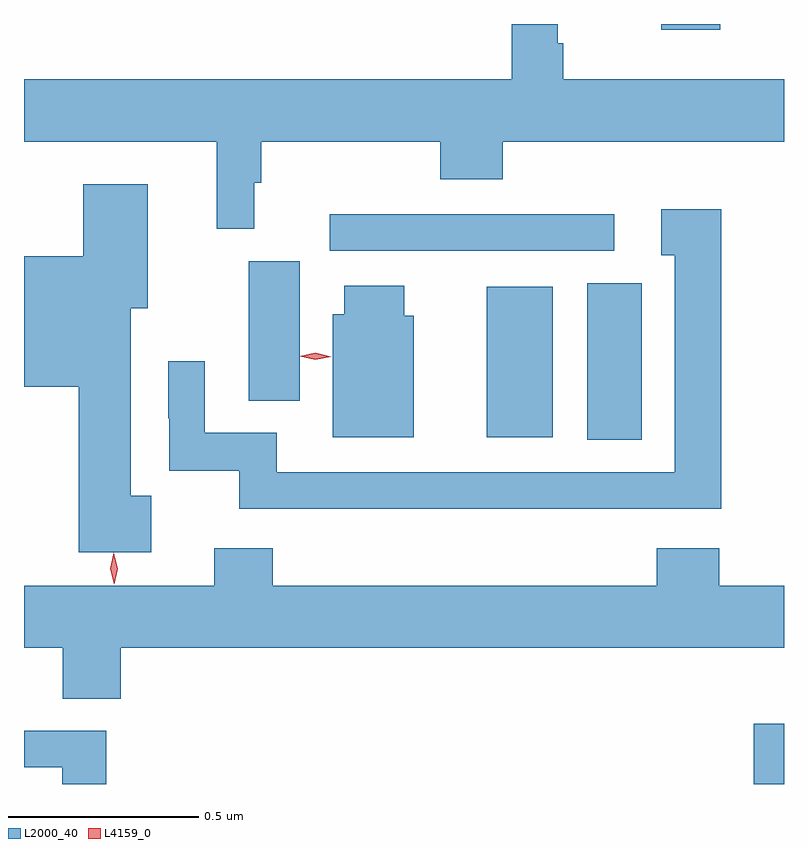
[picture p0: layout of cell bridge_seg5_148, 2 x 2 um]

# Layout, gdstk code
import gdstk
lib = gdstk.Library(unit=1e-6, precision=1e-09)
def R(c, l, rs):  # rectangles x0, y0, x1, y1
    for r in rs: c.add(gdstk.rectangle(r[:2], r[2:], *l))
def P(c, l, *ps):  # polygons
    for p in ps: c.add(gdstk.Polygon(p, *l))
L2000_40 = (2000, 40)
L4159_0 = (4159, 0)

bridge_seg5_148 = lib.new_cell('bridge_seg5_148')
R(bridge_seg5_148, L2000_40, [(352.496,845.746,352.576,845.905), (352.058,846.652,352.201,847.064), (351.794,846.659,351.967,847.054), (351.167,846.755,351.301,847.122), (351.381,847.149,352.129,847.245), (352.253,847.731,352.408,847.746)])
P(bridge_seg5_148, L2000_40, [(351.182,847.328),(351.2,847.328),(351.2,847.436),(351.671,847.436),(351.671,847.337),(351.836,847.337),(351.836,847.436),(352.576,847.436),(352.576,847.6),(351.995,847.6),(351.995,847.696),(351.98,847.696),(351.98,847.746),(351.859,847.746),(351.859,847.6),(350.576,847.6),(350.576,847.436),(351.083,847.436),(351.083,847.207),(351.182,847.207)],
  [(350.911,846.504),(350.857,846.504),(350.857,846.998),(350.902,846.998),(350.902,847.324),(350.732,847.324),(350.732,847.135),(350.576,847.135),(350.576,846.791),(350.72,846.791),(350.72,846.356),(350.911,846.356)],
  [(352.157,846.471),(352.411,846.471),(352.411,847.258),(352.253,847.258),(352.253,847.137),(352.289,847.137),(352.289,846.567),(351.241,846.567),(351.241,846.67),(351.051,846.67),(351.051,846.859),(350.955,846.859),(350.955,846.708),(350.958,846.708),(350.958,846.57),(351.142,846.57),(351.142,846.47),(352.157,846.47)],
  [(351.601,846.978),(351.577,846.978),(351.577,847.057),(351.419,847.057),(351.419,846.982),(351.389,846.982),(351.389,846.659),(351.601,846.659)],
  [(350.576,846.104),(350.678,846.104),(350.678,845.971),(350.831,845.971),(350.831,846.104),(352.576,846.104),(352.576,846.268),(352.406,846.268),(352.406,846.367),(352.241,846.367),(352.241,846.268),(351.23,846.268),(351.23,846.367),(351.077,846.367),(351.077,846.268),(350.576,846.268)],
  [(350.792,845.886),(350.576,845.886),(350.576,845.79),(350.676,845.79),(350.676,845.746),(350.792,845.746)])
P(bridge_seg5_148, L4159_0, [(351.343,846.862),(351.302,846.872),(351.302,846.872),(351.302,846.872),(351.343,846.881),(351.384,846.871),(351.384,846.871),(351.384,846.871)],
  [(350.813,846.272),(350.813,846.272),(350.803,846.312),(350.812,846.354),(350.812,846.354),(350.812,846.354),(350.823,846.313),(350.814,846.272)])

lib.write_gds('bridge_seg5_148.gds')
